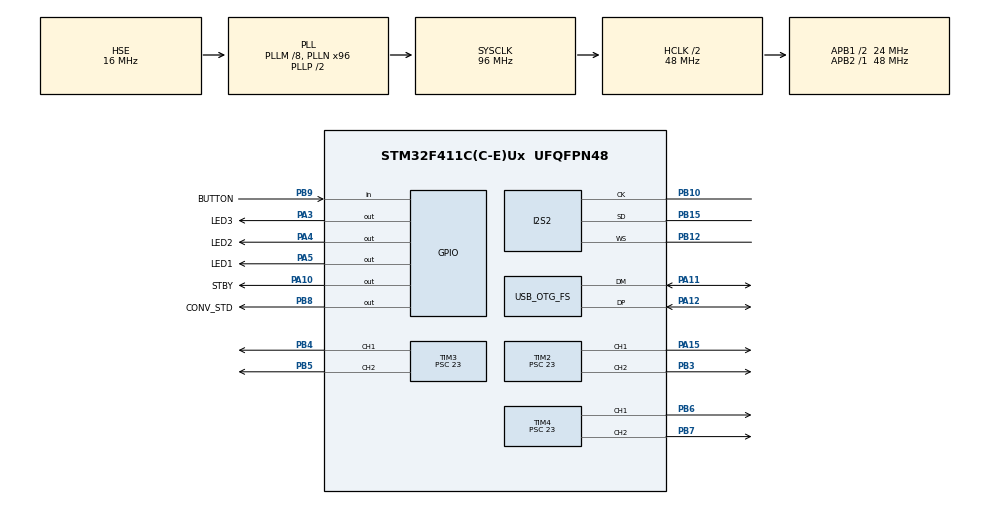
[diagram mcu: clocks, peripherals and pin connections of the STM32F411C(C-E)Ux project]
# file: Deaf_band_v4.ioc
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Dma.Request0=SPI2_RX
Dma.SPI2_RX.0.Direction=DMA_PERIPH_TO_MEMORY
Dma.SPI2_RX.0.FIFOMode=DMA_FIFOMODE_DISABLE
Dma.SPI2_RX.0.Instance=DMA1_Stream3
Dma.SPI2_RX.0.MemDataAlignment=DMA_MDATAALIGN_HALFWORD
Dma.SPI2_RX.0.MemInc=DMA_MINC_ENABLE
Dma.SPI2_RX.0.Mode=DMA_CIRCULAR
Dma.SPI2_RX.0.PeriphDataAlignment=DMA_PDATAALIGN_HALFWORD
Dma.SPI2_RX.0.PeriphInc=DMA_PINC_DISABLE
Dma.SPI2_RX.0.Priority=DMA_PRIORITY_LOW
I2S2.AudioFreq=I2S_AUDIOFREQ_44K
I2S2.CPOL=I2S_CPOL_LOW
I2S2.ClockSource=I2S_CLOCK_PLL
I2S2.DataFormat=I2S_DATAFORMAT_16B
I2S2.ErrorAudioFreq=0.22 %
I2S2.FullDuplexMode=I2S_FULLDUPLEXMODE_DISABLE
I2S2.Instance=SPI$Index
I2S2.Mode=I2S_MODE_MASTER_RX
I2S2.RealAudioFreq=44.1 KHz
I2S2.Standard=I2S_STANDARD_MSB
I2S2.VirtualMode=I2S_MODE_MASTER
IWDG.Prescaler=IWDG_PRESCALER_32
Mcu.Family=STM32F4
Mcu.Name=STM32F411C(C-E)Ux
Mcu.Package=UFQFPN48
NVIC.DMA1_Stream3_IRQn=true\:0\:0\:false\:false\:true\:false\:true\:true
NVIC.OTG_FS_IRQn=true\:0\:0\:true\:false\:true\:true\:true\:true
NVIC.PriorityGroup=NVIC_PRIORITYGROUP_4
NVIC.SPI2_IRQn=true\:0\:0\:false\:false\:true\:true\:true\:true
PA10.GPIO_Label=STBY
PA10.Signal=GPIO_Output
PA11.Mode=Device_Only
PA11.Signal=USB_OTG_FS_DM
PA12.Mode=Device_Only
PA12.Signal=USB_OTG_FS_DP
PA13.Mode=Serial_Wire
PA13.Signal=SYS_JTMS-SWDIO
PA14.Mode=Serial_Wire
PA14.Signal=SYS_JTCK-SWCLK
PA15.Signal=S_TIM2_CH1_ETR
PA3.GPIO_Label=LED3
PA3.Signal=GPIO_Output
PA4.GPIO_Label=LED2
PA4.Signal=GPIO_Output
PA5.GPIO_Label=LED1
PA5.Signal=GPIO_Output
PB10.Mode=Half_Duplex_Master
PB10.Signal=I2S2_CK
PB12.Mode=Half_Duplex_Master
PB12.Signal=I2S2_WS
PB15.Mode=Half_Duplex_Master
PB15.Signal=I2S2_SD
PB3.Signal=S_TIM2_CH2
PB4.Signal=S_TIM3_CH1
PB5.Signal=S_TIM3_CH2
PB6.Signal=S_TIM4_CH1
PB7.Signal=S_TIM4_CH2
PB8.GPIO_Label=CONV_STD
PB8.Signal=GPIO_Output
PB9.GPIO_Label=BUTTON
PB9.Signal=GPIO_Input
PDM2PCM.CHANNEL1_bit_order=PDM_FILTER_BIT_ORDER_MSB
PDM2PCM.CHANNEL1_decimation_factor=PDM_FILTER_DEC_FACTOR_64
PDM2PCM.CHANNEL1_endianness=PDM_FILTER_ENDIANNESS_LE
PDM2PCM.CHANNEL1_high_pass_tap=2104533974
PDM2PCM.CHANNEL1_in_ptr_channels=1
PDM2PCM.CHANNEL1_mic_gain=0
PDM2PCM.CHANNEL1_out_ptr_channels=1
PDM2PCM.CHANNEL1_output_samples_number=1024
PDM2PCM.NbCHANNEL=1
PH0\ -\ OSC_IN.Mode=HSE-External-Oscillator
PH0\ -\ OSC_IN.Signal=RCC_OSC_IN
PH1\ -\ OSC_OUT.Mode=HSE-External-Oscillator
PH1\ -\ OSC_OUT.Signal=RCC_OSC_OUT
ProjectManager.HeapSize=0x1400
ProjectManager.StackSize=0x400
ProjectManager.TargetToolchain=STM32CubeIDE
RCC.48MHZClocksFreq_Value=48000000
RCC.AHBCLKDivider=RCC_SYSCLK_DIV2
RCC.AHBFreq_Value=48000000
RCC.APB1CLKDivider=RCC_HCLK_DIV2
RCC.APB1Freq_Value=24000000
RCC.APB1TimFreq_Value=48000000
RCC.APB2Freq_Value=48000000
RCC.APB2TimFreq_Value=48000000
RCC.CortexFreq_Value=48000000
RCC.FLatency=FLASH_LATENCY_1
RCC.HCLKFreq_Value=48000000
RCC.HSE_VALUE=16000000
RCC.HSI_VALUE=16000000
RCC.LSE_VALUE=32768
RCC.PLLI2SN=302
RCC.PLLM=8
RCC.PLLN=96
RCC.SYSCLKFreq_VALUE=96000000
RCC.SYSCLKSource=RCC_SYSCLKSOURCE_PLLCLK
RCC.VCOOutputFreq_Value=192000000
SH.S_TIM2_CH1_ETR.0=TIM2_CH1,PWM Generation1 CH1
SH.S_TIM2_CH2.0=TIM2_CH2,PWM Generation2 CH2
SH.S_TIM3_CH1.0=TIM3_CH1,PWM Generation1 CH1
SH.S_TIM3_CH2.0=TIM3_CH2,PWM Generation2 CH2
SH.S_TIM4_CH1.0=TIM4_CH1,PWM Generation1 CH1
SH.S_TIM4_CH2.0=TIM4_CH2,PWM Generation2 CH2
TIM2.AutoReloadPreload=TIM_AUTORELOAD_PRELOAD_DISABLE
TIM2.Channel-PWM\ Generation1\ CH1=TIM_CHANNEL_1
TIM2.Channel-PWM\ Generation2\ CH2=TIM_CHANNEL_2
TIM2.ClockDivision=TIM_CLOCKDIVISION_DIV1
TIM2.CounterMode=TIM_COUNTERMODE_UP
TIM2.OC1Preload_PWM=ENABLE
TIM2.OC2Preload_PWM=ENABLE
TIM2.OCFastMode_PWM-PWM\ Generation1\ CH1=TIM_OCFAST_DISABLE
TIM2.OCFastMode_PWM-PWM\ Generation2\ CH2=TIM_OCFAST_DISABLE
TIM2.OCMode_PWM-PWM\ Generation1\ CH1=TIM_OCMODE_PWM1
TIM2.OCMode_PWM-PWM\ Generation2\ CH2=TIM_OCMODE_PWM1
TIM2.OCPolarity_1=TIM_OCPOLARITY_HIGH
TIM2.OCPolarity_2=TIM_OCPOLARITY_HIGH
TIM2.Period=99
TIM2.Prescaler=23
TIM2.Pulse-PWM\ Generation1\ CH1=0
TIM2.Pulse-PWM\ Generation2\ CH2=0
TIM2.TIM_MasterOutputTrigger=TIM_TRGO_RESET
TIM2.TIM_MasterSlaveMode=TIM_MASTERSLAVEMODE_DISABLE
TIM3.AutoReloadPreload=TIM_AUTORELOAD_PRELOAD_DISABLE
TIM3.Channel-PWM\ Generation1\ CH1=TIM_CHANNEL_1
TIM3.Channel-PWM\ Generation2\ CH2=TIM_CHANNEL_2
TIM3.ClockDivision=TIM_CLOCKDIVISION_DIV1
TIM3.CounterMode=TIM_COUNTERMODE_UP
TIM3.OC1Preload_PWM=ENABLE
TIM3.OC2Preload_PWM=ENABLE
TIM3.OCFastMode_PWM-PWM\ Generation1\ CH1=TIM_OCFAST_DISABLE
TIM3.OCFastMode_PWM-PWM\ Generation2\ CH2=TIM_OCFAST_DISABLE
TIM3.OCMode_PWM-PWM\ Generation1\ CH1=TIM_OCMODE_PWM1
TIM3.OCMode_PWM-PWM\ Generation2\ CH2=TIM_OCMODE_PWM1
TIM3.OCPolarity_1=TIM_OCPOLARITY_HIGH
TIM3.OCPolarity_2=TIM_OCPOLARITY_HIGH
TIM3.Period=99
TIM3.Prescaler=23
TIM3.Pulse-PWM\ Generation1\ CH1=0
TIM3.Pulse-PWM\ Generation2\ CH2=0
TIM3.TIM_MasterOutputTrigger=TIM_TRGO_RESET
TIM3.TIM_MasterSlaveMode=TIM_MASTERSLAVEMODE_DISABLE
TIM4.AutoReloadPreload=TIM_AUTORELOAD_PRELOAD_DISABLE
TIM4.Channel-PWM\ Generation1\ CH1=TIM_CHANNEL_1
TIM4.Channel-PWM\ Generation2\ CH2=TIM_CHANNEL_2
TIM4.ClockDivision=TIM_CLOCKDIVISION_DIV1
TIM4.CounterMode=TIM_COUNTERMODE_UP
TIM4.OC1Preload_PWM=ENABLE
TIM4.OC2Preload_PWM=ENABLE
TIM4.OCFastMode_PWM-PWM\ Generation1\ CH1=TIM_OCFAST_DISABLE
TIM4.OCFastMode_PWM-PWM\ Generation2\ CH2=TIM_OCFAST_DISABLE
TIM4.OCMode_PWM-PWM\ Generation1\ CH1=TIM_OCMODE_PWM1
TIM4.OCMode_PWM-PWM\ Generation2\ CH2=TIM_OCMODE_PWM1
TIM4.OCPolarity_1=TIM_OCPOLARITY_HIGH
TIM4.OCPolarity_2=TIM_OCPOLARITY_HIGH
TIM4.Period=99
TIM4.Prescaler=23
TIM4.Pulse-PWM\ Generation1\ CH1=0
TIM4.Pulse-PWM\ Generation2\ CH2=0
TIM4.TIM_MasterOutputTrigger=TIM_TRGO_RESET
TIM4.TIM_MasterSlaveMode=TIM_MASTERSLAVEMODE_DISABLE
USB_OTG_FS.Sof_enable=DISABLE
USB_OTG_FS.VirtualMode=Device_Only
USB_OTG_FS.low_power_enable=DISABLE
USB_OTG_FS.lpm_enable=DISABLE
USB_OTG_FS.vbus_sensing_enable=DISABLE
VP_CRC_VS_CRC.Mode=CRC_Activate
VP_IWDG_VS_IWDG.Mode=IWDG_Activate
VP_PDM2PCM_VS_PDM2PCM.Mode=PDM2PCM_Channel
VP_TIM2_VS_ClockSourceINT.Mode=Internal
VP_TIM3_VS_ClockSourceINT.Mode=Internal
VP_TIM4_VS_ClockSourceINT.Mode=Internal
board=custom

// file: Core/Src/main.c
/* USER CODE BEGIN Header */
/**
  ******************************************************************************
  * @file           : main.c
  * @brief          : Main program body
  ******************************************************************************
  * @attention
  *
  * Copyright (c) 2022 STMicroelectronics.
  * All rights reserved.
  *
  * This software is licensed under terms that can be found in the LICENSE file
  * in the root directory of this software component.
  * If no LICENSE file comes with this software, it is provided AS-IS.
  *
  ******************************************************************************
  */
/* USER CODE END Header */
#include "main.h"
#include "crc.h"
#include "dma.h"
#include "i2s.h"
#include "iwdg.h"
#include "pdm2pcm.h"
#include "tim.h"
#include "usb_otg.h"
#include "gpio.h"

/* USER CODE BEGIN Includes */
#include <stdbool.h>
#include "arm_math.h"
#include <string.h>
#include "FLASH_SECTOR_F4.h"
#include "jsmn.h"
#include "tusb.h"
#include <stdio.h>
#include <stdlib.h>
/* USER CODE END Includes */

/* USER CODE BEGIN PTD */
const char* upload_image[2]=
{
  "Hello world from TinyUSB DFU! - Partition 0",
  "Hello world from TinyUSB DFU! - Partition 1"
};

/* Blink pattern
 * - 250 ms  : device not mounted
 * - 1000 ms : device mounted
 * - 2500 ms : device is suspended
 */
enum  {
  BLINK_NOT_MOUNTED = 250,
  BLINK_MOUNTED = 1000,
  BLINK_SUSPENDED = 5000,
};

/* USER CODE END PTD */

/* USER CODE BEGIN PD */

/*
 * 	Input buffer (data) is a uint8 variable with a length equal to (Output frequency / 1000 *
	decimation factor * Input Microphone Channels / 16 < - (data format) ) at least.
	Output buffer (dataOut) is a uint16 variable with a length equal to (Output frequency /
	1000 * Output Microphone Channels) at least.
 */
#define FFT_SAMPLES 1024
#define PCM_SAMPLES FFT_SAMPLES
#define PDM_SAMPLES (PCM_SAMPLES*4)
#define REAL_VALUE_FREQ_SAMPLING 44014

#define FREQS_SAMPLES FFT_SAMPLES/2

#define MAX_AMPLITUDE 60
#define MAX_PWM 100

#define PWM_GAIN 40

#define SIZE_RX_BUF_USB 512

/* USER CODE END PD */

/* USER CODE BEGIN PV */

uint16_t pdmRxBuf[PDM_SAMPLES];
uint16_t PCMOutBuffer[PCM_SAMPLES];
uint8_t fftcomplete;
float32_t FFTInBuffer[FFT_SAMPLES];
float32_t FFTOutBuffer[FFT_SAMPLES];
volatile bool samplesReady;
uint8_t OutFreqArray[10];
arm_rfft_fast_instance_f32 FFTHandler;

char RxBufferFromUSB[SIZE_RX_BUF_USB];
uint16_t Head = 0;
char WriteArrayFlash[SIZE_RX_BUF_USB];
char ReadArrayFlash[SIZE_RX_BUF_USB];
char string[SIZE_RX_BUF_USB];
char rewriteFLASH[SIZE_RX_BUF_USB];
uint16_t rewritecnt = 0;
char rewriteRxUSB[SIZE_RX_BUF_USB];
uint16_t rewritecnt_1 = 0;

int Freqs[FREQS_SAMPLES];
int Noises_floor_offset = 40; //35

// Pomoce naukowe:
// https://github.com/zserge/jsmn
// Uzycie strtol() i tego do stringow : https://git.man.poznan.pl/stash/projects/PRACELAB/repos/pam/browse/common/token.c

int i;
int r;
jsmn_parser p;
jsmntok_t t[128]; /* We expect no more than 128 tokens */

int Freq_Range[12];
float32_t Amplitude_Section[6];
int Freq_Section[6];
int16_t Gain[6];

uint8_t MotorPWM[8];

// TIMERS
uint32_t ConfigTimer;
uint32_t PWMTimer;
uint32_t ButtonTimer;
uint32_t TimerB;

// FLAGS
uint8_t RxFlagUSB = 0;

uint32_t CheckDataFlash = 0;

uint8_t FlashFlag = 0;

uint32_t Timer;
/* USER CODE END PV */

void SystemClock_Config(void);
/* USER CODE BEGIN PFP */

static uint32_t blink_interval_ms = BLINK_NOT_MOUNTED;

void led_blinking_task(void);

void HAL_I2S_RxCpltCallback(I2S_HandleTypeDef *hi2s);
float32_t GetMaxAmplitude(uint16_t lowFreq, uint16_t highFreq);
void InitParams();
/* USER CODE END PFP */

/* USER CODE BEGIN 0 */
void cdc_task(void)
{
     // connected and there are data available
     if ( tud_cdc_available() )
     {
       // read datas
       char buf[64];
       uint32_t count = tud_cdc_read(buf, sizeof(buf));
       (void) count;

 	  memcpy(&RxBufferFromUSB[Head], buf, count);
 	  Head += 64;

 	  if(strstr(RxBufferFromUSB, "connection=0") != NULL){

 		  RxFlagUSB = 1;
 	  }

 	  if(strstr(RxBufferFromUSB, "}") != NULL){

 		  RxFlagUSB = 1;
 	  }

       //tud_cdc_write(buf, count);
       //tud_cdc_write_flush();
     }
}

float complexABS(float real, float compl) {
	return sqrtf(real*real+compl*compl);
}

static int jsoneq(const char *json, jsmntok_t *tok, const char *s) {
  if (tok->type == JSMN_STRING && (int)strlen(s) == tok->end - tok->start &&
      strncmp(json + tok->start, s, tok->end - tok->start) == 0) {
    return 0;
  }
  return -1;
}

/* USER CODE END 0 */

int main(void)
{

  /* MCU Configuration--------------------------------------------------------*/

  /* Reset of all peripherals, Initializes the Flash interface and the Systick. */
  HAL_Init();

  /* Configure the system clock */
  SystemClock_Config();

  /* Initialize all configured peripherals */
  MX_GPIO_Init();
  MX_DMA_Init();
  MX_I2S2_Init();
  MX_CRC_Init();
  MX_PDM2PCM_Init();
  MX_TIM2_Init();
  MX_TIM3_Init();
  MX_TIM4_Init();
  MX_USB_OTG_FS_PCD_Init();
  MX_IWDG_Init();
  /* USER CODE BEGIN 2 */

  /*
   *  ZEBY DFU DZIALALO NALEZY
   *  PIN: BOOT0 PODLACZYC DO VDD
   *  PIN: BOOT1 PODLACZYC DO GND (PIN BOOT1 sprawdzamy w dokumentacji danego stm32 ktory to pin, w naszym przypadku jest to PIN: PB2)
   *  PO PODLACZENIU ZRESETOWAC STM32
   */

  if(__HAL_RCC_GET_FLAG(RCC_FLAG_IWDGRST) != RESET)
  {
	 // SendUart(&huart2, "!!!!!IWDG RESET!!!!!\n\r");
	  HAL_GPIO_TogglePin(LED3_GPIO_Port, LED3_Pin);
	  __HAL_RCC_CLEAR_RESET_FLAGS();
  }

  HAL_I2S_Receive_DMA(&hi2s2, &pdmRxBuf[0],PDM_SAMPLES);
  arm_rfft_fast_init_f32(&FFTHandler, FFT_SAMPLES);

  tusb_init();
  tud_init(BOARD_TUD_RHPORT);

  InitParams();

  jsmn_init(&p);

  Flash_Read_Data(0x08060000, &CheckDataFlash, 1);
  if(CheckDataFlash != 0xFFFFFFFF){
	  Flash_Read_Data(0x08060000 , (uint32_t *)ReadArrayFlash, 128);
	  Convert_To_Str((uint32_t *)ReadArrayFlash, string);
	  FlashFlag = 1;

  }

  HAL_GPIO_WritePin(STBY_GPIO_Port, STBY_Pin, GPIO_PIN_SET);

  HAL_TIM_PWM_Start(&htim2, TIM_CHANNEL_1);
  HAL_TIM_PWM_Start(&htim2, TIM_CHANNEL_2);
  HAL_TIM_PWM_Start(&htim3, TIM_CHANNEL_1);
  HAL_TIM_PWM_Start(&htim3, TIM_CHANNEL_2);
  HAL_TIM_PWM_Start(&htim4, TIM_CHANNEL_1);
  HAL_TIM_PWM_Start(&htim4, TIM_CHANNEL_2);
/*
  __HAL_TIM_SET_COMPARE(&htim2, TIM_CHANNEL_1, 50);
  __HAL_TIM_SET_COMPARE(&htim2, TIM_CHANNEL_2, 50);
  __HAL_TIM_SET_COMPARE(&htim3, TIM_CHANNEL_1, 50);
  __HAL_TIM_SET_COMPARE(&htim3, TIM_CHANNEL_2, 50);
  __HAL_TIM_SET_COMPARE(&htim4, TIM_CHANNEL_1, 50);
  __HAL_TIM_SET_COMPARE(&htim4, TIM_CHANNEL_2, 50);
*/
  PWMTimer = HAL_GetTick();
  ConfigTimer = HAL_GetTick();
  ButtonTimer = HAL_GetTick();
  TimerB = HAL_GetTick();

  Timer = HAL_GetTick();
  /* USER CODE END 2 */

  /* Infinite loop */
  /* USER CODE BEGIN WHILE */
  while (1)
  {

	  if(HAL_IWDG_Refresh(&hiwdg) != HAL_OK)
	  {
		  // PRESCALER NA 32 TO PO 4 SEK BEZ ODSWIEZANIA STM32 NASTAPI RESET!
		  /* Refresh Error */
		  Error_Handler();
	  }

	  if((HAL_GetTick() - Timer) > 500){
		  Timer = HAL_GetTick();
		  HAL_GPIO_TogglePin(LED1_GPIO_Port, LED1_Pin);
	  }

	  tud_task();
	  cdc_task();
	  led_blinking_task();

	  if((HAL_GetTick() - ButtonTimer) > 100){
		  ButtonTimer = HAL_GetTick();

	  if(HAL_GPIO_ReadPin(BUTTON_GPIO_Port, BUTTON_Pin) == GPIO_PIN_SET){

		  HAL_GPIO_WritePin(CONV_STD_GPIO_Port, CONV_STD_Pin, GPIO_PIN_SET);
		  if(HAL_GetTick() - TimerB > 4000){
			  TimerB = HAL_GetTick();

		  if(HAL_GPIO_ReadPin(BUTTON_GPIO_Port, BUTTON_Pin) == GPIO_PIN_SET){
			  HAL_GPIO_WritePin(CONV_STD_GPIO_Port, CONV_STD_Pin, GPIO_PIN_RESET);

			  while(HAL_GPIO_ReadPin(BUTTON_GPIO_Port, BUTTON_Pin) == GPIO_PIN_SET);
		  }
		  }
	  }

	  }

	  if (RxFlagUSB == 1) {
	  			RxFlagUSB = 0;
	  			if (strstr(RxBufferFromUSB, "connection=0") != NULL) {
	  				char connected[] = "connection=1";
	  				tud_cdc_write(connected, sizeof(connected));
	  				tud_cdc_write_flush();
	  				Head = 0;
	  				memset(&RxBufferFromUSB[0], 0, sizeof(RxBufferFromUSB));
	  			} else {

	  				jsmn_init(&p);
	  				char *ptr;

	  				r = jsmn_parse(&p, RxBufferFromUSB, strlen(RxBufferFromUSB), t,
	  						sizeof(t) / sizeof(t[0]));
	  				if (r < 0) {
	  					HAL_GPIO_WritePin(LED2_GPIO_Port, LED2_Pin, GPIO_PIN_SET);
	  					printf("Failed to parse JSON: %d\n", r);
	  					return 1;
	  				}
	  				HAL_GPIO_WritePin(LED2_GPIO_Port, LED2_Pin, GPIO_PIN_RESET);
	  				/* Assume the top-level element is an object */
	  				if (r < 1 || t[0].type != JSMN_OBJECT) {
	  					printf("Object expected\n");
	  					return 1;
	  				}

	  				/* Loop over all keys of the root object */
	  				for (i = 1; i < r; i++) {
	  					if (jsoneq(RxBufferFromUSB, &t[i], "F1_min") == 0) {
	  						Freq_Range[0] = strtol(RxBufferFromUSB + t[i + 1].start,
	  								&ptr, 0);

	  						i++;
	  					} else if (jsoneq(RxBufferFromUSB, &t[i], "F2_min") == 0) {
	  						Freq_Range[2] = strtol(RxBufferFromUSB + t[i + 1].start,
	  								&ptr, 0);

	  						i++;
	  					} else if (jsoneq(RxBufferFromUSB, &t[i], "F3_min") == 0) {
	  						Freq_Range[4] = strtol(RxBufferFromUSB + t[i + 1].start,
	  								&ptr, 0);

	  						i++;
	  					} else if (jsoneq(RxBufferFromUSB, &t[i], "F4_min") == 0) {

	  						Freq_Range[6] = strtol(RxBufferFromUSB + t[i + 1].start,
	  								&ptr, 0);

	  						i++;
	  					} else if (jsoneq(RxBufferFromUSB, &t[i], "F5_min") == 0) {

	  						Freq_Range[8] = strtol(RxBufferFromUSB + t[i + 1].start,
	  								&ptr, 0);

	  						i++;
	  					} else if (jsoneq(RxBufferFromUSB, &t[i], "F6_min") == 0) {

	  						Freq_Range[10] = strtol(
	  								RxBufferFromUSB + t[i + 1].start, &ptr, 0);

	  						i++;
	  					} else if (jsoneq(RxBufferFromUSB, &t[i], "F1_max") == 0) {

	  						Freq_Range[1] = strtol(RxBufferFromUSB + t[i + 1].start,
	  								&ptr, 0);

	  						i++;
	  					} else if (jsoneq(RxBufferFromUSB, &t[i], "F2_max") == 0) {

	  						Freq_Range[3] = strtol(RxBufferFromUSB + t[i + 1].start,
	  								&ptr, 0);

	  						i++;
	  					} else if (jsoneq(RxBufferFromUSB, &t[i], "F3_max") == 0) {

	  						Freq_Range[5] = strtol(RxBufferFromUSB + t[i + 1].start,
	  								&ptr, 0);

	  						i++;
	  					} else if (jsoneq(RxBufferFromUSB, &t[i], "F4_max") == 0) {

	  						Freq_Range[7] = strtol(RxBufferFromUSB + t[i + 1].start,
	  								&ptr, 0);

	  						i++;
	  					} else if (jsoneq(RxBufferFromUSB, &t[i], "F5_max") == 0) {

	  						Freq_Range[9] = strtol(RxBufferFromUSB + t[i + 1].start,
	  								&ptr, 0);

	  						i++;
	  					} else if (jsoneq(RxBufferFromUSB, &t[i], "F6_max") == 0) {

	  						Freq_Range[11] = strtol(
	  								RxBufferFromUSB + t[i + 1].start, &ptr, 0);

	  						i++;
	  					} else if (jsoneq(RxBufferFromUSB, &t[i], "G1") == 0) {

	  						Gain[0] = strtol(RxBufferFromUSB + t[i + 1].start, &ptr,
	  								0);

	  						i++;
	  					} else if (jsoneq(RxBufferFromUSB, &t[i], "G2") == 0) {

	  						Gain[1] = strtol(RxBufferFromUSB + t[i + 1].start, &ptr,
	  								0);

	  						i++;
	  					} else if (jsoneq(RxBufferFromUSB, &t[i], "G3") == 0) {

	  						Gain[2] = strtol(RxBufferFromUSB + t[i + 1].start, &ptr,
	  								0);

	  						i++;
	  					} else if (jsoneq(RxBufferFromUSB, &t[i], "G4") == 0) {

	  						Gain[3] = strtol(RxBufferFromUSB + t[i + 1].start, &ptr,
	  								0);

	  						i++;
	  					} else if (jsoneq(RxBufferFromUSB, &t[i], "G5") == 0) {

	  						Gain[4] = strtol(RxBufferFromUSB + t[i + 1].start, &ptr,
	  								0);

	  						i++;
	  					} else if (jsoneq(RxBufferFromUSB, &t[i], "G6") == 0) {

	  						Gain[5] = strtol(RxBufferFromUSB + t[i + 1].start, &ptr,
	  								0);

	  						i++;
	  					}

	  					else {
	  						//printf("Unexpected key: %.*s\n", t[i].end - t[i].start,
	  						// RxBufferFromUSB + t[i].start);
	  					}
	  				}

	  				Head = 0;
	  				// \/ Wysyla co 64 bajty takze zeby wyslac wiecej musisz zrobic petle
	  				//tud_cdc_write(RxBufferFromUSB, sizeof(RxBufferFromUSB));
	  				//tud_cdc_write_flush();
	  				int numofwords = (strlen(RxBufferFromUSB) / 4)
	  						+ ((strlen(RxBufferFromUSB) % 4) != 0);
	  				Flash_Write_Data(0x08060000, (uint32_t*) RxBufferFromUSB,
	  						numofwords);
	  				memset(&RxBufferFromUSB[0], 0, sizeof(RxBufferFromUSB));

	  			}

	  		}

	  		if (FlashFlag == 1) {

	  			for (char *p = strchr(string, '}'); p != NULL;
	  					p = strchr(p + 1, '}')) {
	  				rewritecnt = p - string;
	  			}

	  			memcpy(rewriteFLASH, string, (rewritecnt + 1));

	  			jsmn_init(&p);
	  			char *ptr;

	  			r = jsmn_parse(&p, rewriteFLASH, strlen(rewriteFLASH), t, //Ta funkcja wyrzuca HardFault
	  					sizeof(t) / sizeof(t[0]));// Wynika to z przepisywania danych z FLASH poniewaz wiecej przepisuje co daje to ze
	  			// Przepisuje pozniej 0xFF a jsmn parser tego nie widzi jako terminatora \0, Solution: Usun 0xFF aby zostaly same 0
	  			if (r < 0) {
	  				printf("Failed to parse JSON: %d\n", r);
	  				return 1;
	  			}

	  			/* Assume the top-level element is an object */
	  			if (r < 1 || t[0].type != JSMN_OBJECT) {
	  				printf("Object expected\n");
	  				return 1;
	  			}

	  			/* Loop over all keys of the root object */
	  			for (i = 1; i < r; i++) {
	  				if (jsoneq(rewriteFLASH, &t[i], "F1_min") == 0) {
	  					Freq_Range[0] = strtol(rewriteFLASH + t[i + 1].start, &ptr,
	  							0);

	  					i++;
	  				} else if (jsoneq(rewriteFLASH, &t[i], "F2_min") == 0) {
	  					Freq_Range[2] = strtol(rewriteFLASH + t[i + 1].start, &ptr,
	  							0);

	  					i++;
	  				} else if (jsoneq(rewriteFLASH, &t[i], "F3_min") == 0) {
	  					Freq_Range[4] = strtol(rewriteFLASH + t[i + 1].start, &ptr,
	  							0);

	  					i++;
	  				} else if (jsoneq(rewriteFLASH, &t[i], "F4_min") == 0) {

	  					Freq_Range[6] = strtol(rewriteFLASH + t[i + 1].start, &ptr,
	  							0);

	  					i++;
	  				} else if (jsoneq(rewriteFLASH, &t[i], "F5_min") == 0) {

	  					Freq_Range[8] = strtol(rewriteFLASH + t[i + 1].start, &ptr,
	  							0);

	  					i++;
	  				} else if (jsoneq(rewriteFLASH, &t[i], "F6_min") == 0) {

	  					Freq_Range[10] = strtol(rewriteFLASH + t[i + 1].start, &ptr,
	  							0);

	  					i++;
	  				} else if (jsoneq(rewriteFLASH, &t[i], "F1_max") == 0) {

	  					Freq_Range[1] = strtol(rewriteFLASH + t[i + 1].start, &ptr,
	  							0);

	  					i++;
	  				} else if (jsoneq(rewriteFLASH, &t[i], "F2_max") == 0) {

	  					Freq_Range[3] = strtol(rewriteFLASH + t[i + 1].start, &ptr,
	  							0);

	  					i++;
	  				} else if (jsoneq(rewriteFLASH, &t[i], "F3_max") == 0) {

	  					Freq_Range[5] = strtol(rewriteFLASH + t[i + 1].start, &ptr,
	  							0);

	  					i++;
	  				} else if (jsoneq(rewriteFLASH, &t[i], "F4_max") == 0) {

	  					Freq_Range[7] = strtol(rewriteFLASH + t[i + 1].start, &ptr,
	  							0);

	  					i++;
	  				} else if (jsoneq(rewriteFLASH, &t[i], "F5_max") == 0) {

	  					Freq_Range[9] = strtol(rewriteFLASH + t[i + 1].start, &ptr,
	  							0);

	  					i++;
	  				} else if (jsoneq(rewriteFLASH, &t[i], "F6_max") == 0) {

	  					Freq_Range[11] = strtol(rewriteFLASH + t[i + 1].start, &ptr,
	  							0);

	  					i++;
	  				} else if (jsoneq(rewriteFLASH, &t[i], "G1") == 0) {

	  					Gain[0] = strtol(rewriteFLASH + t[i + 1].start, &ptr, 0);

	  					i++;
	  				} else if (jsoneq(rewriteFLASH, &t[i], "G2") == 0) {

	  					Gain[1] = strtol(rewriteFLASH + t[i + 1].start, &ptr, 0);

	  					i++;
	  				} else if (jsoneq(rewriteFLASH, &t[i], "G3") == 0) {

	  					Gain[2] = strtol(rewriteFLASH + t[i + 1].start, &ptr, 0);

	  					i++;
	  				} else if (jsoneq(rewriteFLASH, &t[i], "G4") == 0) {

	  					Gain[3] = strtol(rewriteFLASH + t[i + 1].start, &ptr, 0);

	  					i++;
	  				} else if (jsoneq(rewriteFLASH, &t[i], "G5") == 0) {

	  					Gain[4] = strtol(rewriteFLASH + t[i + 1].start, &ptr, 0);

	  					i++;
	  				} else if (jsoneq(rewriteFLASH, &t[i], "G6") == 0) {

	  					Gain[5] = strtol(rewriteFLASH + t[i + 1].start, &ptr, 0);

	  					i++;
	  				}

	  				else {
	  					//printf("Unexpected key: %.*s\n", t[i].end - t[i].start,
	  					// rewriteFLASH + t[i].start);
	  				}
	  			}

	  			FlashFlag = 0;
	  		}

	  if (samplesReady) {
			PDM_Filter(&pdmRxBuf[0], &PCMOutBuffer[0], &PDM1_filter_handler);

			for (uint16_t cnt = 0; cnt < FFT_SAMPLES; cnt++) {
				//FFTInBuffer[cnt] = ((float32_t)PCMOutBuffer[cnt]);
				//FFTInBuffer[cnt] = ((float32_t)PCMOutBuffer[cnt])/65556.0; //Range : 0 - 100%
				FFTInBuffer[cnt] = ((float32_t) PCMOutBuffer[cnt]) / 32778.0; //Range : -1 - 1
			}

			fftcomplete = 1;
			samplesReady = false;
		}

		if (fftcomplete) {
			//CALCULATE FFT
			arm_rfft_fast_f32(&FFTHandler, FFTInBuffer, FFTOutBuffer, 0);

			int FreqPoint = 0;

			// calculate abs values and linear-to-dB
			for (int i = 0; i < FFT_SAMPLES; i = i + 2) {
				Freqs[FreqPoint] = (int) (20
						* log10f(
								complexABS(FFTOutBuffer[i],
										FFTOutBuffer[i + 1])))
						- Noises_floor_offset;

				if (Freqs[FreqPoint] < 0) {
					Freqs[FreqPoint] = 0;
				}
				FreqPoint++;
			}

			// Equation which give number of element in array equal frequancy
			// f_sample = 44kHz (real value check in CubeIDE, 44 014Hz)
			// FFT_SAMPLES = 1024
			// Example 500 Hz -> 500 * (1024/(44014/2)) = 23.26 ~ 23 element -> Freqs[23] = 500 Hz
			OutFreqArray[0] = (uint8_t) Freqs[1]; // 22 Hz
			OutFreqArray[1] = (uint8_t) Freqs[3]; // 63 Hz
			OutFreqArray[2] = (uint8_t) Freqs[6]; // 125 Hz
			OutFreqArray[3] = (uint8_t) Freqs[12]; // 250 Hz
			OutFreqArray[4] = (uint8_t) Freqs[23]; // 500 Hz
			OutFreqArray[5] = (uint8_t) Freqs[47]; // 1000 Hz
			OutFreqArray[6] = (uint8_t) Freqs[102]; // 2200 Hz
			OutFreqArray[7] = (uint8_t) Freqs[209]; // 4500 Hz
			OutFreqArray[8] = (uint8_t) Freqs[372]; // 8000 Hz
			//OutFreqArray[9] = (uint8_t) Freqs[698]; // 15000 Hz

			fftcomplete = 0;
		}

	  if((HAL_GetTick() - PWMTimer) > 100){
	  	  	  	  	  	PWMTimer = HAL_GetTick();

			Amplitude_Section[0] = GetMaxAmplitude(Freq_Range[0],
					Freq_Range[1]);
			Amplitude_Section[1] = GetMaxAmplitude(Freq_Range[2],
					Freq_Range[3]);
			Amplitude_Section[2] = GetMaxAmplitude(Freq_Range[4],
					Freq_Range[5]);
			Amplitude_Section[3] = GetMaxAmplitude(Freq_Range[6],
					Freq_Range[7]);
			Amplitude_Section[4] = GetMaxAmplitude(Freq_Range[8],
					Freq_Range[9]);
			Amplitude_Section[5] = GetMaxAmplitude(Freq_Range[10],
					Freq_Range[11]);

			if (Amplitude_Section[0] > 0) {
				if (Amplitude_Section[0] >= MAX_AMPLITUDE) {
					MotorPWM[0] = MAX_PWM;
					__HAL_TIM_SET_COMPARE(&htim2, TIM_CHANNEL_1, MotorPWM[0]);

				} else {
					MotorPWM[0] = (Amplitude_Section[0] / MAX_AMPLITUDE) * 100;

					if((MotorPWM[0] + Gain[0]) > MAX_PWM){
						MotorPWM[0] = MAX_PWM;
					} else if((MotorPWM[0] + Gain[0]) <= 0){
						MotorPWM[0] = 0;
					} else {
						MotorPWM[0] = MotorPWM[0] + Gain[0];
					}

					__HAL_TIM_SET_COMPARE(&htim2, TIM_CHANNEL_1, MotorPWM[0]);
				}
			} else if (__HAL_TIM_GET_COMPARE(&htim2, TIM_CHANNEL_1) != 0) {
				MotorPWM[0] = 0;
				__HAL_TIM_SET_COMPARE(&htim2, TIM_CHANNEL_1, 0);
			}

			if (Amplitude_Section[1] > 0) {
				if (Amplitude_Section[1] >= MAX_AMPLITUDE) {
					MotorPWM[1] = MAX_PWM;
					__HAL_TIM_SET_COMPARE(&htim2, TIM_CHANNEL_2, MotorPWM[1]);

				} else {
					MotorPWM[1] = (Amplitude_Section[1] / MAX_AMPLITUDE) * 100;

					if((MotorPWM[1] + Gain[1]) > MAX_PWM){
						MotorPWM[1] = MAX_PWM;
					} else if((MotorPWM[1] + Gain[1]) <= 0){
						MotorPWM[1] = 0;
					} else {
						MotorPWM[1] = MotorPWM[1] + Gain[1];
					}

					__HAL_TIM_SET_COMPARE(&htim2, TIM_CHANNEL_2, MotorPWM[1]);
				}
			} else if (__HAL_TIM_GET_COMPARE(&htim2, TIM_CHANNEL_2) != 0) {
				MotorPWM[1] = 0;
				__HAL_TIM_SET_COMPARE(&htim2, TIM_CHANNEL_2, 0);
			}

			if (Amplitude_Section[2] > 0) {
				if (Amplitude_Section[2] >= MAX_AMPLITUDE) {
					MotorPWM[2] = MAX_PWM;
					__HAL_TIM_SET_COMPARE(&htim3, TIM_CHANNEL_1, MotorPWM[2]);

				} else {
					MotorPWM[2] = (Amplitude_Section[2] / MAX_AMPLITUDE) * 100;

					if((MotorPWM[2] + Gain[2]) > MAX_PWM){
						MotorPWM[2] = MAX_PWM;
					} else if((MotorPWM[2] + Gain[2]) <= 0){
						MotorPWM[2] = 0;
					} else {
						MotorPWM[2] = MotorPWM[2] + Gain[2];
					}

					__HAL_TIM_SET_COMPARE(&htim3, TIM_CHANNEL_1, MotorPWM[2]);
				}
			} else if (__HAL_TIM_GET_COMPARE(&htim3, TIM_CHANNEL_1) != 0) {
				MotorPWM[2] = 0;
				__HAL_TIM_SET_COMPARE(&htim3, TIM_CHANNEL_1, 0);
			}

			if (Amplitude_Section[3] > 0) {
				if (Amplitude_Section[3] >= MAX_AMPLITUDE) {
					MotorPWM[3] = MAX_PWM;
					__HAL_TIM_SET_COMPARE(&htim3, TIM_CHANNEL_2, MotorPWM[3]);

				} else {
					MotorPWM[3] = (Amplitude_Section[3] / MAX_AMPLITUDE) * 100;

					if((MotorPWM[3] + Gain[3]) > MAX_PWM){
						MotorPWM[3] = MAX_PWM;
					} else if((MotorPWM[3] + Gain[3]) <= 0){
						MotorPWM[3] = 0;
					} else {
						MotorPWM[3] = MotorPWM[3] + Gain[3];
					}

					__HAL_TIM_SET_COMPARE(&htim3, TIM_CHANNEL_2, MotorPWM[3]);
				}
			} else if (__HAL_TIM_GET_COMPARE(&htim3, TIM_CHANNEL_2) != 0) {
				MotorPWM[3] = 0;
				__HAL_TIM_SET_COMPARE(&htim3, TIM_CHANNEL_2, 0);
			}

			if (Amplitude_Section[4] > 0) {
				if (Amplitude_Section[4] >= MAX_AMPLITUDE) {
					MotorPWM[4] = MAX_PWM;
					__HAL_TIM_SET_COMPARE(&htim4, TIM_CHANNEL_1, MotorPWM[4]);

				} else {
					MotorPWM[4] = (Amplitude_Section[4] / MAX_AMPLITUDE) * 100;

					if((MotorPWM[4] + Gain[4]) > MAX_PWM){
						MotorPWM[4] = MAX_PWM;
					} else if((MotorPWM[4] + Gain[4]) <= 0){
						MotorPWM[4] = 0;
					} else {
						MotorPWM[4] = MotorPWM[4] + Gain[4];
					}

					__HAL_TIM_SET_COMPARE(&htim4, TIM_CHANNEL_1, MotorPWM[4]);
				}
			} else if (__HAL_TIM_GET_COMPARE(&htim4, TIM_CHANNEL_1) != 0) {
				MotorPWM[4] = 0;
				__HAL_TIM_SET_COMPARE(&htim4, TIM_CHANNEL_1, 0);
			}

			if (Amplitude_Section[5] > 0) {
				if (Amplitude_Section[5] >= MAX_AMPLITUDE) {
					MotorPWM[5] = MAX_PWM;
					__HAL_TIM_SET_COMPARE(&htim4, TIM_CHANNEL_2, MotorPWM[5]);

				} else {
					MotorPWM[5] = (Amplitude_Section[5] / MAX_AMPLITUDE) * 100;

					if((MotorPWM[5] + Gain[5]) > MAX_PWM){
						MotorPWM[5] = MAX_PWM;
					} else if((MotorPWM[5] + Gain[5]) <= 0){
						MotorPWM[5] = 0;
					} else {
						MotorPWM[5] = MotorPWM[5] + Gain[5];
					}

					__HAL_TIM_SET_COMPARE(&htim4, TIM_CHANNEL_2, MotorPWM[5]);
				}
			} else if (__HAL_TIM_GET_COMPARE(&htim4, TIM_CHANNEL_2) != 0) {
				MotorPWM[5] = 0;
				__HAL_TIM_SET_COMPARE(&htim4, TIM_CHANNEL_2, 0);
			}

		}

    /* USER CODE END WHILE */

  }
}

void SystemClock_Config(void)
{
  RCC_OscInitTypeDef RCC_OscInitStruct = {0};
  RCC_ClkInitTypeDef RCC_ClkInitStruct = {0};

  /** Configure the main internal regulator output voltage
  */
  __HAL_RCC_PWR_CLK_ENABLE();
  __HAL_PWR_VOLTAGESCALING_CONFIG(PWR_REGULATOR_VOLTAGE_SCALE1);

  /** Initializes the RCC Oscillators according to the specified parameters
  * in the RCC_OscInitTypeDef structure.
  */
  RCC_OscInitStruct.OscillatorType = RCC_OSCILLATORTYPE_LSI|RCC_OSCILLATORTYPE_HSE;
  RCC_OscInitStruct.HSEState = RCC_HSE_ON;
  RCC_OscInitStruct.LSIState = RCC_LSI_ON;
  RCC_OscInitStruct.PLL.PLLState = RCC_PLL_ON;
  RCC_OscInitStruct.PLL.PLLSource = RCC_PLLSOURCE_HSE;
  RCC_OscInitStruct.PLL.PLLM = 8;
  RCC_OscInitStruct.PLL.PLLN = 96;
  RCC_OscInitStruct.PLL.PLLP = RCC_PLLP_DIV2;
  RCC_OscInitStruct.PLL.PLLQ = 4;
  if (HAL_RCC_OscConfig(&RCC_OscInitStruct) != HAL_OK)
  {
    Error_Handler();
  }

  /** Initializes the CPU, AHB and APB buses clocks
  */
  RCC_ClkInitStruct.ClockType = RCC_CLOCKTYPE_HCLK|RCC_CLOCKTYPE_SYSCLK
                              |RCC_CLOCKTYPE_PCLK1|RCC_CLOCKTYPE_PCLK2;
  RCC_ClkInitStruct.SYSCLKSource = RCC_SYSCLKSOURCE_PLLCLK;
  RCC_ClkInitStruct.AHBCLKDivider = RCC_SYSCLK_DIV2;
  RCC_ClkInitStruct.APB1CLKDivider = RCC_HCLK_DIV2;
  RCC_ClkInitStruct.APB2CLKDivider = RCC_HCLK_DIV1;

  if (HAL_RCC_ClockConfig(&RCC_ClkInitStruct, FLASH_LATENCY_1) != HAL_OK)
  {
    Error_Handler();
  }
}

/* USER CODE BEGIN 4 */

// Jezeli taktowanie glownego zegara jest ustawione na 48MHz ustaw FLASH_LATENCY na 1 czyli FLASH_LATENCY_1

// Invoked when device is mounted
void tud_mount_cb(void)
{
  blink_interval_ms = BLINK_MOUNTED;
}

// Invoked when device is unmounted
void tud_umount_cb(void)
{
  blink_interval_ms = BLINK_NOT_MOUNTED;
}

// Invoked when usb bus is suspended
// remote_wakeup_en : if host allow us  to perform remote wakeup
// Within 7ms, device must draw an average of current less than 2.5 mA from bus
void tud_suspend_cb(bool remote_wakeup_en)
{
  (void) remote_wakeup_en;
  blink_interval_ms = BLINK_SUSPENDED;
}

// Invoked when usb bus is resumed
void tud_resume_cb(void)
{
  blink_interval_ms = BLINK_MOUNTED;
}

//--------------------------------------------------------------------+
// DFU callbacks
// Note: alt is used as the partition number, in order to support multiple partitions like FLASH, EEPROM, etc.
//--------------------------------------------------------------------+

// Invoked right before tud_dfu_download_cb() (state=DFU_DNBUSY) or tud_dfu_manifest_cb() (state=DFU_MANIFEST)
// Application return timeout in milliseconds (bwPollTimeout) for the next download/manifest operation.
// During this period, USB host won't try to communicate with us.
uint32_t tud_dfu_get_timeout_cb(uint8_t alt, uint8_t state)
{
  if ( state == DFU_DNBUSY )
  {
    // For this example
    // - Atl0 Flash is fast : 1   ms
    // - Alt1 EEPROM is slow: 100 ms
    return (alt == 0) ? 1 : 100;
  }
  else if (state == DFU_MANIFEST)
  {
    // since we don't buffer entire image and do any flashing in manifest stage
    return 0;
  }

  return 0;
}

// Invoked when received DFU_DNLOAD (wLength>0) following by DFU_GETSTATUS (state=DFU_DNBUSY) requests
// This callback could be returned before flashing op is complete (async).
// Once finished flashing, application must call tud_dfu_finish_flashing()
void tud_dfu_download_cb(uint8_t alt, uint16_t block_num, uint8_t const* data, uint16_t length)
{
  (void) alt;
  (void) block_num;

  //printf("\r\nReceived Alt %u BlockNum %u of length %u\r\n", alt, wBlockNum, length);

  for(uint16_t i=0; i<length; i++)
  {
    printf("%c", data[i]);
  }

  // flashing op for download complete without error
  tud_dfu_finish_flashing(DFU_STATUS_OK);
}

// Invoked when download process is complete, received DFU_DNLOAD (wLength=0) following by DFU_GETSTATUS (state=Manifest)
// Application can do checksum, or actual flashing if buffered entire image previously.
// Once finished flashing, application must call tud_dfu_finish_flashing()
void tud_dfu_manifest_cb(uint8_t alt)
{
  (void) alt;
  printf("Download completed, enter manifestation\r\n");

  // flashing op for manifest is complete without error
  // Application can perform checksum, should it fail, use appropriate status such as errVERIFY.
  tud_dfu_finish_flashing(DFU_STATUS_OK);
}

// Invoked when received DFU_UPLOAD request
// Application must populate data with up to length bytes and
// Return the number of written bytes
uint16_t tud_dfu_upload_cb(uint8_t alt, uint16_t block_num, uint8_t* data, uint16_t length)
{
  (void) block_num;
  (void) length;

  uint16_t const xfer_len = (uint16_t) strlen(upload_image[alt]);
  memcpy(data, upload_image[alt], xfer_len);

  return xfer_len;
}

// Invoked when the Host has terminated a download or upload transfer
void tud_dfu_abort_cb(uint8_t alt)
{
  (void) alt;
  printf("Host aborted transfer\r\n");
}

// Invoked when a DFU_DETACH request is received
void tud_dfu_detach_cb(void)
{
  printf("Host detach, we should probably reboot\r\n");
}

//--------------------------------------------------------------------+
// BLINKING TASK + Indicator pulse
//--------------------------------------------------------------------+

void led_blinking_task(void)
{
  static uint32_t start_ms = 0;
  static bool led_state = false;

  // Blink every interval ms
  if ( HAL_GetTick() - start_ms < blink_interval_ms) return; // not enough time
  start_ms += blink_interval_ms;
HAL_GPIO_WritePin(LED2_GPIO_Port, LED2_Pin, led_state);
  //board_led_write(led_state);
  led_state = 1 - led_state; // toggle
}

void HAL_I2S_RxCpltCallback(I2S_HandleTypeDef *hi2s){
	samplesReady = true;
}

float32_t GetMaxAmplitude(uint16_t lowFreq, uint16_t highFreq){

	// index1 + 12 = Example 500 Hz -> 500 * (1024/(44014/2)) = 23.26 ~ 23 element -> Freqs[23] = 500 Hz
	uint16_t indexarrayforlowFreq = lowFreq * (float)((float)FFT_SAMPLES/((float)REAL_VALUE_FREQ_SAMPLING/2.f));
	uint16_t indexarrayforhighFreq = highFreq * (float)((float)FFT_SAMPLES/((float)REAL_VALUE_FREQ_SAMPLING/2.f));
	//uint32_t blocksize = indexarrayforhighFreq - indexarrayforlowFreq;
	if(indexarrayforlowFreq <= 0){
		indexarrayforlowFreq = 0;
	} else {
		indexarrayforlowFreq -= 5;
	}

	if(indexarrayforlowFreq > 505){
		indexarrayforlowFreq = 512;
	} else {
		indexarrayforlowFreq += 5;
	}

	//float32_t amplitude = 0;
	//uint32_t currentIndex = 0;

		/**
		 * @brief Maximum value of a floating-point vector.
		 * @param[in]  pSrc       points to the input buffer
		 * @param[in]  blockSize  length of the input vector
		 * @param[out] pResult    maximum value returned here
		 * @param[out] pIndex     index of maximum value returned here
		 */
			// RANGE of Array \/
	//arm_max_f32((float32_t *)&Freqs[indexarrayforlowFreq], blocksize, &amplitude, &currentIndex);

	//int TempArray[512] = {0};
	//memset(TempArray, 0, 512);
	//memcpy(TempArray, Freqs, 512);

	  for (int i = indexarrayforlowFreq; i < indexarrayforhighFreq; ++i) {
	    if (Freqs[indexarrayforlowFreq] < Freqs[i]) {
	    	Freqs[indexarrayforlowFreq] = Freqs[i];
	    }
	  }

return Freqs[indexarrayforlowFreq];

}

void InitParams(){

	Freq_Range[0] = 400;
	Freq_Range[1] = 600;

	Freq_Range[2] = 700;
	Freq_Range[3] = 900;

	Freq_Range[4] = 1400;
	Freq_Range[5] = 1600;

	Freq_Range[6] = 1900;
	Freq_Range[7] = 2100;

	Freq_Range[8] = 2400;
	Freq_Range[9] = 2600;

	Freq_Range[10] = 900;
	Freq_Range[11] = 1100;

}

/* USER CODE END 4 */

void Error_Handler(void)
{
  __disable_irq();
  while (1)
  {
  }
}
